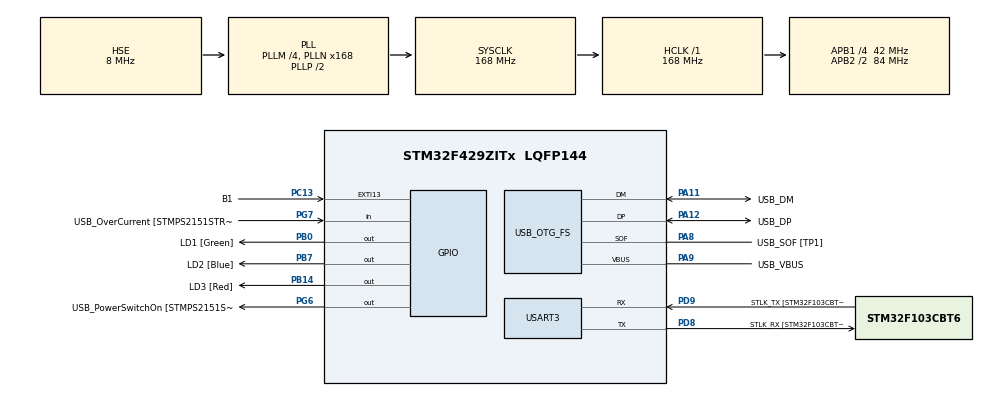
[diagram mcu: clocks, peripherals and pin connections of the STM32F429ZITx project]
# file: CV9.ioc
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Mcu.Family=STM32F4
Mcu.Name=STM32F429ZITx
Mcu.Package=LQFP144
NVIC.PriorityGroup=NVIC_PRIORITYGROUP_4
PA1.GPIO_Label=RMII_REF_CLK [LAN8742A-CZ-TR_REFCLK0]
PA1.Signal=ETH_REF_CLK
PA10.GPIO_Label=USB_ID
PA10.Signal=USB_OTG_FS_ID
PA11.GPIO_Label=USB_DM
PA11.Mode=Device_Only
PA11.Signal=USB_OTG_FS_DM
PA12.GPIO_Label=USB_DP
PA12.Mode=Device_Only
PA12.Signal=USB_OTG_FS_DP
PA13.GPIO_Label=TMS
PA13.Mode=Serial_Wire
PA13.Signal=SYS_JTMS-SWDIO
PA14.GPIO_Label=TCK
PA14.Mode=Serial_Wire
PA14.Signal=SYS_JTCK-SWCLK
PA2.GPIO_Label=RMII_MDIO [LAN8742A-CZ-TR_MDIO]
PA2.Signal=ETH_MDIO
PA7.GPIO_Label=RMII_CRS_DV [LAN8742A-CZ-TR_CRS_DV]
PA7.Signal=ETH_CRS_DV
PA8.GPIO_Label=USB_SOF [TP1]
PA8.Mode=Activate_SOF_FS
PA8.Signal=USB_OTG_FS_SOF
PA9.GPIO_Label=USB_VBUS
PA9.Mode=Activate_VBUS
PA9.Signal=USB_OTG_FS_VBUS
PB0.GPIO_Label=LD1 [Green]
PB0.Signal=GPIO_Output
PB13.GPIO_Label=RMII_TXD1 [LAN8742A-CZ-TR_TXD1]
PB13.Signal=ETH_TXD1
PB14.GPIO_Label=LD3 [Red]
PB14.Signal=GPIO_Output
PB7.GPIO_Label=LD2 [Blue]
PB7.Signal=GPIO_Output
PC1.GPIO_Label=RMII_MDC [LAN8742A-CZ-TR_MDC]
PC1.Signal=ETH_MDC
PC13.GPIO_Label=B1
PC13.Signal=GPXTI13
PC14/OSC32_IN.Mode=LSE-External-Oscillator
PC14/OSC32_IN.Signal=RCC_OSC32_IN
PC15/OSC32_OUT.Mode=LSE-External-Oscillator
PC15/OSC32_OUT.Signal=RCC_OSC32_OUT
PC4.GPIO_Label=RMII_RXD0 [LAN8742A-CZ-TR_RXD0]
PC4.Signal=ETH_RXD0
PC5.GPIO_Label=RMII_RXD1 [LAN8742A-CZ-TR_RXD1]
PC5.Signal=ETH_RXD1
PD8.GPIO_Label=STLK_RX [STM32F103CBT6_PA3]
PD8.Mode=Asynchronous
PD8.Signal=USART3_TX
PD9.GPIO_Label=STLK_TX [STM32F103CBT6_PA2]
PD9.Mode=Asynchronous
PD9.Signal=USART3_RX
PG11.GPIO_Label=RMII_TX_EN [LAN8742A-CZ-TR_TXEN]
PG11.Signal=ETH_TX_EN
PG13.GPIO_Label=RMII_TXD0 [LAN8742A-CZ-TR_TXD0]
PG13.Signal=ETH_TXD0
PG6.GPIO_Label=USB_PowerSwitchOn [STMPS2151STR_EN]
PG6.Signal=GPIO_Output
PG7.GPIO_Label=USB_OverCurrent [STMPS2151STR_FAULT]
PG7.Signal=GPIO_Input
PH0/OSC_IN.GPIO_Label=MCO [STM32F103CBT6_PA8]
PH0/OSC_IN.Mode=HSE-External-Clock-Source
PH0/OSC_IN.Signal=RCC_OSC_IN
PH1/OSC_OUT.Mode=HSE-External-Clock-Source
PH1/OSC_OUT.Signal=RCC_OSC_OUT
ProjectManager.HeapSize=0x200
ProjectManager.StackSize=0x400
ProjectManager.TargetToolchain=STM32CubeIDE
RCC.48MHZClocksFreq_Value=48000000
RCC.AHBFreq_Value=168000000
RCC.APB1CLKDivider=RCC_HCLK_DIV4
RCC.APB1Freq_Value=42000000
RCC.APB1TimFreq_Value=84000000
RCC.APB2CLKDivider=RCC_HCLK_DIV2
RCC.APB2Freq_Value=84000000
RCC.APB2TimCLKDivider=2
RCC.APB2TimFreq_Value=168000000
RCC.CortexFreq_Value=168000000
RCC.HCLKFreq_Value=168000000
RCC.HSE_VALUE=8000000
RCC.HSI_VALUE=16000000
RCC.PLLM=4
RCC.PLLMUL=RCC_PLL_MUL9
RCC.PLLN=168
RCC.PLLQ=7
RCC.PRESCALERUSB=RCC_USBCLKSOURCE_PLL_DIV1_5
RCC.SYSCLKFreq_VALUE=168000000
RCC.SYSCLKSource=RCC_SYSCLKSOURCE_PLLCLK
RCC.SYSCLKSourceVirtual=RCC_SYSCLKSOURCE_PLLCLK
RCC.USBFreq_Value=48000000
RCC.VCOOutputFreq_Value=336000000
USART3.VirtualMode=VM_ASYNC
USB_DEVICE.CLASS_NAME_FS=HID
USB_DEVICE.VirtualMode-HID_FS=Hid
USB_DEVICE.VirtualModeFS=Hid_FS
USB_OTG_FS.VirtualMode=Device_Only
VP_USB_DEVICE_VS_USB_DEVICE_HID_FS.Mode=HID_FS
board=NUCLEO-F429ZI

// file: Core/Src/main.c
/* USER CODE BEGIN Header */
/**
 ******************************************************************************
 * @file           : main.c
 * @brief          : Main program body
 ******************************************************************************
 * @attention
 *
 * <h2><center>&copy; Copyright (c) 2020 STMicroelectronics.
 * All rights reserved.</center></h2>
 *
 * This software component is licensed by ST under BSD 3-Clause license,
 * the "License"; You may not use this file except in compliance with the
 * License. You may obtain a copy of the License at:
 *                        opensource.org/licenses/BSD-3-Clause
 *
 ******************************************************************************
 */
/* USER CODE END Header */

#include "main.h"
#include "usb_device.h"

/* USER CODE BEGIN Includes */
#include "usbd_hid.h"
#include <math.h>
#include <stdbool.h>
/* USER CODE END Includes */

/* USER CODE BEGIN PD */
#define KROKY 50
#define RADIUS 200
/* USER CODE END PD */

UART_HandleTypeDef huart3;

void SystemClock_Config(void);
static void MX_GPIO_Init(void);
static void MX_USART3_UART_Init(void);
/* USER CODE BEGIN PFP */
extern USBD_HandleTypeDef hUsbDeviceFS;
void step(int8_t x, int8_t y, bool btn);
void circle(uint16_t radius);
void mouth(uint16_t radius);
void smile(void);
void keyboard(uint8_t special, uint8_t key);// bonus
/* USER CODE END PFP */

int main(void)
{

	/* MCU Configuration--------------------------------------------------------*/

	/* Reset of all peripherals, Initializes the Flash interface and the Systick. */
	HAL_Init();

	/* Configure the system clock */
	SystemClock_Config();

	/* Initialize all configured peripherals */
	MX_GPIO_Init();
	MX_USART3_UART_Init();
	MX_USB_DEVICE_Init();

	/* Infinite loop */
	while (1)
	{

		/* USER CODE BEGIN 3 */
		if (HAL_GPIO_ReadPin(B1_GPIO_Port, B1_Pin) == 0 )
		{
			//circle(RADIUS);

			smile();
		}

	}
	/* USER CODE END 3 */
}

void SystemClock_Config(void)
{
	RCC_OscInitTypeDef RCC_OscInitStruct = {0};
	RCC_ClkInitTypeDef RCC_ClkInitStruct = {0};

	/** Configure the main internal regulator output voltage
	 */
	__HAL_RCC_PWR_CLK_ENABLE();
	__HAL_PWR_VOLTAGESCALING_CONFIG(PWR_REGULATOR_VOLTAGE_SCALE1);
	/** Initializes the CPU, AHB and APB busses clocks
	 */
	RCC_OscInitStruct.OscillatorType = RCC_OSCILLATORTYPE_HSE;
	RCC_OscInitStruct.HSEState = RCC_HSE_BYPASS;
	RCC_OscInitStruct.PLL.PLLState = RCC_PLL_ON;
	RCC_OscInitStruct.PLL.PLLSource = RCC_PLLSOURCE_HSE;
	RCC_OscInitStruct.PLL.PLLM = 4;
	RCC_OscInitStruct.PLL.PLLN = 168;
	RCC_OscInitStruct.PLL.PLLP = RCC_PLLP_DIV2;
	RCC_OscInitStruct.PLL.PLLQ = 7;
	if (HAL_RCC_OscConfig(&RCC_OscInitStruct) != HAL_OK)
	{
		Error_Handler();
	}
	/** Initializes the CPU, AHB and APB busses clocks
	 */
	RCC_ClkInitStruct.ClockType = RCC_CLOCKTYPE_HCLK|RCC_CLOCKTYPE_SYSCLK
			|RCC_CLOCKTYPE_PCLK1|RCC_CLOCKTYPE_PCLK2;
	RCC_ClkInitStruct.SYSCLKSource = RCC_SYSCLKSOURCE_PLLCLK;
	RCC_ClkInitStruct.AHBCLKDivider = RCC_SYSCLK_DIV1;
	RCC_ClkInitStruct.APB1CLKDivider = RCC_HCLK_DIV4;
	RCC_ClkInitStruct.APB2CLKDivider = RCC_HCLK_DIV2;

	if (HAL_RCC_ClockConfig(&RCC_ClkInitStruct, FLASH_LATENCY_5) != HAL_OK)
	{
		Error_Handler();
	}
}

static void MX_USART3_UART_Init(void)
{

	huart3.Instance = USART3;
	huart3.Init.BaudRate = 115200;
	huart3.Init.WordLength = UART_WORDLENGTH_8B;
	huart3.Init.StopBits = UART_STOPBITS_1;
	huart3.Init.Parity = UART_PARITY_NONE;
	huart3.Init.Mode = UART_MODE_TX_RX;
	huart3.Init.HwFlowCtl = UART_HWCONTROL_NONE;
	huart3.Init.OverSampling = UART_OVERSAMPLING_16;
	if (HAL_UART_Init(&huart3) != HAL_OK)
	{
		Error_Handler();
	}

}

static void MX_GPIO_Init(void)
{
	GPIO_InitTypeDef GPIO_InitStruct = {0};

	/* GPIO Ports Clock Enable */
	__HAL_RCC_GPIOC_CLK_ENABLE();
	__HAL_RCC_GPIOH_CLK_ENABLE();
	__HAL_RCC_GPIOA_CLK_ENABLE();
	__HAL_RCC_GPIOB_CLK_ENABLE();
	__HAL_RCC_GPIOD_CLK_ENABLE();
	__HAL_RCC_GPIOG_CLK_ENABLE();

	/*Configure GPIO pin Output Level */
	HAL_GPIO_WritePin(GPIOB, LD1_Pin|LD3_Pin|LD2_Pin, GPIO_PIN_RESET);

	/*Configure GPIO pin Output Level */
	HAL_GPIO_WritePin(USB_PowerSwitchOn_GPIO_Port, USB_PowerSwitchOn_Pin, GPIO_PIN_RESET);

	/*Configure GPIO pin : B1_Pin */
	GPIO_InitStruct.Pin = B1_Pin;
	GPIO_InitStruct.Mode = GPIO_MODE_IT_RISING;
	GPIO_InitStruct.Pull = GPIO_NOPULL;
	HAL_GPIO_Init(B1_GPIO_Port, &GPIO_InitStruct);

	/*Configure GPIO pins : RMII_MDC_Pin RMII_RXD0_Pin RMII_RXD1_Pin */
	GPIO_InitStruct.Pin = RMII_MDC_Pin|RMII_RXD0_Pin|RMII_RXD1_Pin;
	GPIO_InitStruct.Mode = GPIO_MODE_AF_PP;
	GPIO_InitStruct.Pull = GPIO_NOPULL;
	GPIO_InitStruct.Speed = GPIO_SPEED_FREQ_VERY_HIGH;
	GPIO_InitStruct.Alternate = GPIO_AF11_ETH;
	HAL_GPIO_Init(GPIOC, &GPIO_InitStruct);

	/*Configure GPIO pins : RMII_REF_CLK_Pin RMII_MDIO_Pin RMII_CRS_DV_Pin */
	GPIO_InitStruct.Pin = RMII_REF_CLK_Pin|RMII_MDIO_Pin|RMII_CRS_DV_Pin;
	GPIO_InitStruct.Mode = GPIO_MODE_AF_PP;
	GPIO_InitStruct.Pull = GPIO_NOPULL;
	GPIO_InitStruct.Speed = GPIO_SPEED_FREQ_VERY_HIGH;
	GPIO_InitStruct.Alternate = GPIO_AF11_ETH;
	HAL_GPIO_Init(GPIOA, &GPIO_InitStruct);

	/*Configure GPIO pins : LD1_Pin LD3_Pin LD2_Pin */
	GPIO_InitStruct.Pin = LD1_Pin|LD3_Pin|LD2_Pin;
	GPIO_InitStruct.Mode = GPIO_MODE_OUTPUT_PP;
	GPIO_InitStruct.Pull = GPIO_NOPULL;
	GPIO_InitStruct.Speed = GPIO_SPEED_FREQ_LOW;
	HAL_GPIO_Init(GPIOB, &GPIO_InitStruct);

	/*Configure GPIO pin : RMII_TXD1_Pin */
	GPIO_InitStruct.Pin = RMII_TXD1_Pin;
	GPIO_InitStruct.Mode = GPIO_MODE_AF_PP;
	GPIO_InitStruct.Pull = GPIO_NOPULL;
	GPIO_InitStruct.Speed = GPIO_SPEED_FREQ_VERY_HIGH;
	GPIO_InitStruct.Alternate = GPIO_AF11_ETH;
	HAL_GPIO_Init(RMII_TXD1_GPIO_Port, &GPIO_InitStruct);

	/*Configure GPIO pin : USB_PowerSwitchOn_Pin */
	GPIO_InitStruct.Pin = USB_PowerSwitchOn_Pin;
	GPIO_InitStruct.Mode = GPIO_MODE_OUTPUT_PP;
	GPIO_InitStruct.Pull = GPIO_NOPULL;
	GPIO_InitStruct.Speed = GPIO_SPEED_FREQ_LOW;
	HAL_GPIO_Init(USB_PowerSwitchOn_GPIO_Port, &GPIO_InitStruct);

	/*Configure GPIO pin : USB_OverCurrent_Pin */
	GPIO_InitStruct.Pin = USB_OverCurrent_Pin;
	GPIO_InitStruct.Mode = GPIO_MODE_INPUT;
	GPIO_InitStruct.Pull = GPIO_NOPULL;
	HAL_GPIO_Init(USB_OverCurrent_GPIO_Port, &GPIO_InitStruct);

	/*Configure GPIO pins : RMII_TX_EN_Pin RMII_TXD0_Pin */
	GPIO_InitStruct.Pin = RMII_TX_EN_Pin|RMII_TXD0_Pin;
	GPIO_InitStruct.Mode = GPIO_MODE_AF_PP;
	GPIO_InitStruct.Pull = GPIO_NOPULL;
	GPIO_InitStruct.Speed = GPIO_SPEED_FREQ_VERY_HIGH;
	GPIO_InitStruct.Alternate = GPIO_AF11_ETH;
	HAL_GPIO_Init(GPIOG, &GPIO_InitStruct);

}

/* USER CODE BEGIN 4 */

void step(int8_t x, int8_t y, bool btn)
{
	uint8_t buff[5];
	buff[0] = 0x02;
	if (btn) buff[1] = 0x01; // stiskni leve tlacitko
	buff[2] = x;
	buff[3] = y;
	buff[4] = 0; // bez scrollu
	USBD_HID_SendReport(&hUsbDeviceFS, buff, sizeof(buff));
	HAL_Delay(2*USBD_HID_GetPollingInterval(&hUsbDeviceFS));

}

void circle(uint16_t radius)
{

	float x = 0, y = 0, sx = 0, sy = 0;

	uint8_t i;
	uint8_t dx, dy;

	for(i = 0; i < KROKY; i++)
	{
		x = radius*cos((i*2*M_PI)/KROKY);
		y = radius*sin((i*2*M_PI)/KROKY);

		dx = round (x - sx);
		dy = round (y - sy);

		step(dx, dy, true);

		sx = x;
		sy = y;

	}
}

void mouth(uint16_t radius)
{

	float x = 0, y = 0, sx = 0, sy = 0;

	uint8_t i;
	uint8_t dx, dy;

	for(i = 0; i < KROKY; i++)
	{
		x = radius*cos((i*2*M_PI)/KROKY);
		y = radius*sin((i*2*M_PI)/KROKY);

		dx = round (x - sx);
		dy = round (y - sy);
		if (y<=0)  // dolni polovina kruhu
			step(dx, dy, true);

		sx = x;
		sy = y;

	}

}

void smile(void)
{

	keyboard(0x08,0x15);// Win + R
	keyboard(0x00,0x10);// M
	keyboard(0x00,0x16);// S
	keyboard(0x00,0x13);// P
	keyboard(0x00,0x04);// A
	keyboard(0x00,0x0C);// I
	keyboard(0x00,0x11);// N
	keyboard(0x00,0x17);// T
	keyboard(0x00,0x37);// .
	keyboard(0x00,0x08);// E
	keyboard(0x00,0x1B);// X
	keyboard(0x00,0x08);// E
	keyboard(0x00,0x28);// Enter

	step(0,0,true);
	circle(RADIUS);// velka kružnice
	step(50,50,false);// posun na oko
	step(0,0,true);// zapnu kresleni
	circle(50);// prave oko
	step(0,0,false);
	step(-100,0,false);// posun na leve oko
	step(0,0,true);
	circle(50);// leve oko
	step(50,-50,false); // posun na 0,0
	step(0,-50, true);//nos
	step(0,0,false);
	step(0,-50,true);
	mouth(50);
	step(0,100, false);// zpatky na 0,0
}

void keyboard(uint8_t special, uint8_t key)
{
	uint8_t buff[9];
	buff[0] = 0x01; // id klavesnice
	buff[1] = special;
	buff[2] = 0;
	buff[3] = key;
	buff[4] = 0;
	buff[5] = 0;
	buff[6] = 0;
	buff[7] = 0;
	buff[8] = 0;

	USBD_HID_SendReport(&hUsbDeviceFS, buff, sizeof(buff));
	HAL_Delay(5*USBD_HID_GetPollingInterval(&hUsbDeviceFS));

	buff[1] = 0;
	buff[3] = 0;

	USBD_HID_SendReport(&hUsbDeviceFS, buff, sizeof(buff));
	HAL_Delay(5*USBD_HID_GetPollingInterval(&hUsbDeviceFS));

}

/* USER CODE END 4 */

void Error_Handler(void)
{
}

/************************ (C) COPYRIGHT STMicroelectronics *****END OF FILE****/
